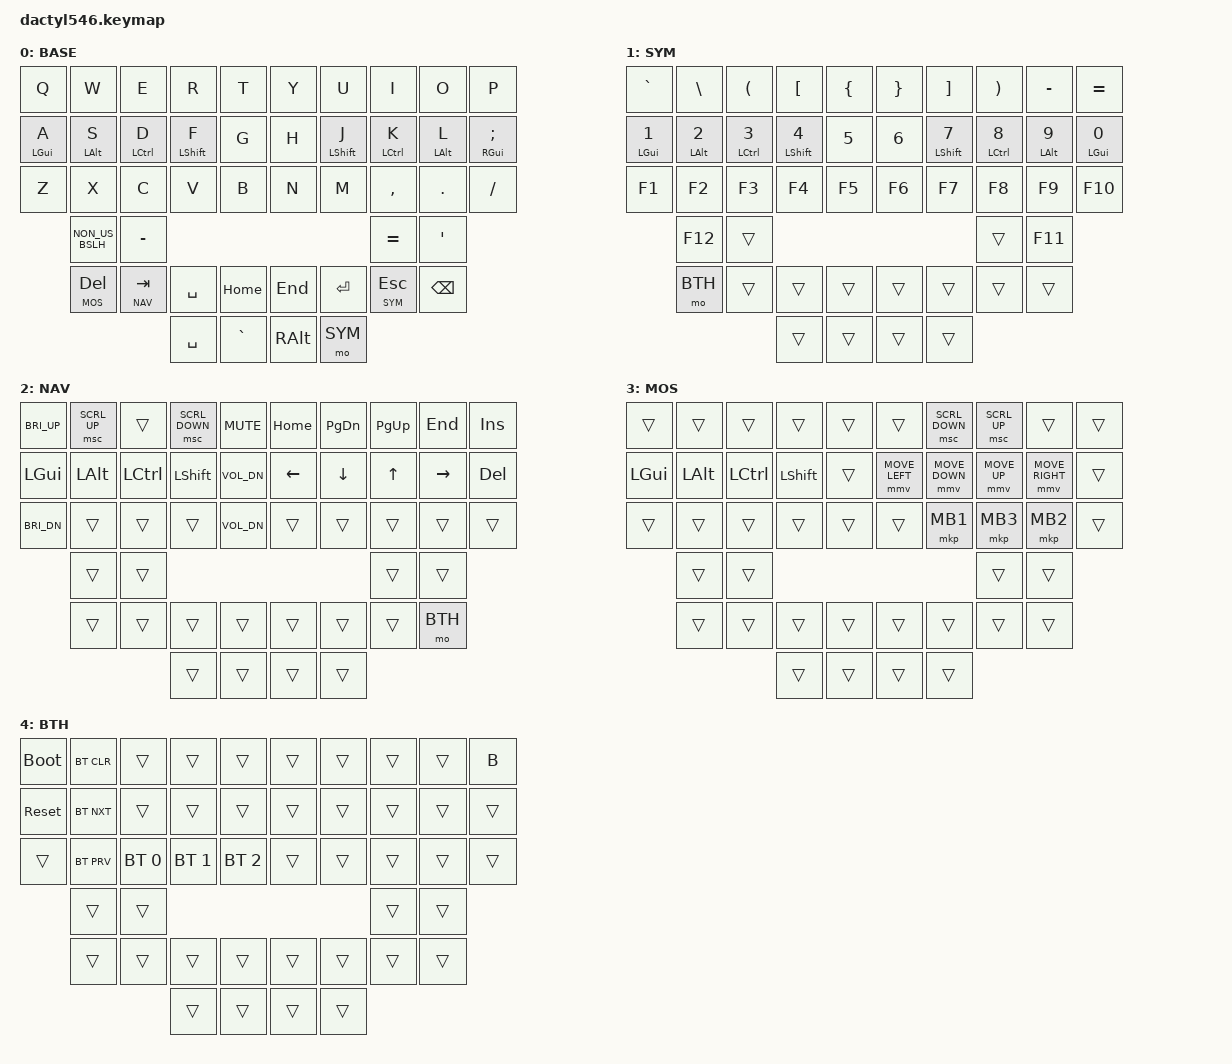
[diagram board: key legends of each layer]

#define ZMK_POINTING_DEFAULT_MOVE_VAL 1000  // default: 600
#define ZMK_POINTING_DEFAULT_SCRL_VAL 20    // default: 10

#include <behaviors.dtsi>
#include <dt-bindings/zmk/keys.h>
#include <dt-bindings/zmk/bt.h>
#include <dt-bindings/zmk/outputs.h>
#include <dt-bindings/zmk/pointing.h>

#define BASE 0
#define SYM  1
#define NAV  2
#define MOS  3
#define BTH  4


&mmv {
    time-to-max-speed-ms = <200>;
    acceleration-exponent = <2>;
};

&msc {
    time-to-max-speed-ms = <200>;
    acceleration-exponent = <2>;
};

&mt {
  quick-tap-ms = <100>;
  global-quick-tap;
  flavor = "tap-preferred";
  tapping-term-ms = <200>;
};

/ {
     combos {
            compatible = "zmk,combos";
            combo_esc {
                timeout-ms = <50>;
                key-positions = <0 1>;
                bindings = <&kp ESC>;
            };
    };

        keymap {
                compatible = "zmk,keymap";

                base_layer {
label= "BASE";
//   +--------------+--------------+--------------+--------------+--------------+  +--------------+--------------+--------------+--------------+--------------+
//   |      Q       |      W       |       E      |       R      |       T      |  |      Y       |      U       |      I       |      O       |      P       |
//   +--------------+--------------+--------------+--------------+--------------+  +--------------+--------------+--------------+--------------+--------------+
//   |      A       |      S       |       D      |       F      |       G      |  |      H       |      J       |      K       |      L       |      ;       |
//   +--------------+--------------+--------------+--------------+--------------+  +--------------+--------------+--------------+--------------+--------------+
//   |      Z       |      X       |       C      |       V      |       B      |  |      N       |      M       |      ,       |      .       |      /       |
//   +--------------+--------------+--------------+--------------+--------------+  +--------------+--------------+--------------+--------------+--------------+
//                  |      \       |       -      |                                                              |      =       |      '       |
//                  +--------------+--------------+                                                              +--------------+--------------+
//
//                  +--------------+--------------+--------------+--------------+  +--------------+--------------+--------------+--------------+
//                  |     DEL      |      TAB     |      SPC     |     HOME     |  |     END      |     RET      |     ESC      |    BSPC      |
//                  +--------------+--------------+--------------+--------------+  +--------------+--------------+--------------+--------------+
//                                                |      SPC     |      `       |  |    RALT      |     SYM      |
//                                                +--------------+--------------+  +--------------+--------------+

 bindings = <
//   |              |              |              |              |              |  |              |              |              |              |              |
      &kp Q          &kp W          &kp E          &kp R          &kp T             &kp Y          &kp U          &kp I          &kp O          &kp P
      &mt LGUI A     &mt LALT S     &mt LCTRL D    &mt LSHFT F    &kp G             &kp H          &mt LSHFT J    &mt LCTRL K    &mt LALT L     &mt RGUI SEMI
      &kp Z          &kp X          &kp C          &kp V          &kp B             &kp N          &kp M          &kp COMMA      &kp DOT        &kp FSLH
                     &kp NON_US_BSLH &kp MINUS                                                                    &kp EQUAL      &kp APOS

                     &lt MOS DEL    &lt NAV TAB    &kp SPACE      &kp HOME          &kp END        &kp RET        &lt SYM ESC    &kp BSPC
                                                   &kp SPACE      &kp GRAVE         &kp RALT       &mo SYM
                        >;
                };



                sim_layer {
label= "SYM";
//   +--------------+--------------+--------------+--------------+--------------+  +--------------+--------------+--------------+--------------+--------------+
//   |      `       |       \      |       (      |       [      |      {       |  |      }       |      ]       |       )      |      -       |      =       |
//   +--------------+--------------+--------------+--------------+--------------+  +--------------+--------------+--------------+--------------+--------------+
//   |      1       |       2      |       3      |       4      |      5       |  |      6       |      7       |       8      |      9       |      0       |
//   +--------------+--------------+--------------+--------------+--------------+  +--------------+--------------+--------------+--------------+--------------+
//   |     F1       |      F2      |      F3      |      F4      |     F5       |  |     F6       |     F7       |      F8      |     F9       |     F10      |
//   +--------------+--------------+--------------+--------------+--------------+  +--------------+--------------+--------------+--------------+--------------+
//                  |      F12     |              |                                                              |              |     F12      |
//                  +--------------+--------------+                                                              +--------------+--------------+
//
//                  +--------------+--------------+--------------+--------------+  +--------------+--------------+--------------+--------------+
//                  |              |              |              |              |  |              |              |              |              |
//                  +--------------+--------------+--------------+--------------+  +--------------+--------------+--------------+--------------+
//                                                |              |              |  |              |              |
//                                                +--------------+--------------+  +--------------+--------------+
 bindings = <
//   |              |              |              |              |              |  |              |              |              |              |              |
      &kp GRAVE      &kp BSLH       &kp LPAR       &kp LBKT       &kp LBRC          &kp RBRC       &kp RBKT       &kp RPAR       &kp MINUS      &kp EQUAL
      &mt LGUI N1    &mt LALT N2    &mt LCTRL N3   &mt LSHFT N4   &kp N5            &kp N6         &mt LSHFT N7   &mt LCTRL N8   &mt LALT N9    &mt LGUI N0
      &kp F1         &kp F2         &kp F3         &kp F4         &kp F5            &kp F6         &kp F7         &kp F8         &kp F9         &kp F10
                     &kp F12        &trans                                                                        &trans         &kp F11

                     &mo BTH        &trans         &trans         &trans           &trans         &trans         &trans         &trans
                                                   &trans         &trans           &trans         &trans
                        >;
                };


                nav_layer {
label= "NAV";
//   +--------------+--------------+--------------+--------------+--------------+  +--------------+--------------+--------------+--------------+--------------+
//   |   BR UP      |   SCRL UP    |  MOUSE UP    |   SCRL UP    |   MUTE       |  |    HOME      |   PG DN      |     PG UP    |    END       |     INS      |
//   +--------------+--------------+--------------+--------------+--------------+  +--------------+--------------+--------------+--------------+--------------+
//   |   LGUI       |   LALT       |   LCTRL      |    LSHIFT    |   VOL UP     |  |    LEFT      |    DOWN      |      UP      |   RIGHT      |     DEL      |
//   +--------------+--------------+--------------+--------------+--------------+  +--------------+--------------+--------------+--------------+--------------+
//   |   BR DN      |              |              |              |   VOL DN     |  |              |              |              |              |              |
//   +--------------+--------------+--------------+--------------+--------------+  +--------------+--------------+--------------+--------------+--------------+
//                  |              |              |                                                              |              |              |
//                  +--------------+--------------+                                                              +--------------+--------------+
//
//                  +--------------+--------------+--------------+--------------+  +--------------+--------------+--------------+--------------+
//                  |              |              |              |              |  |              |              |              |              |
//                  +--------------+--------------+--------------+--------------+  +--------------+--------------+--------------+--------------+
//                                                |              |              |  |              |              |
//                                                +--------------+--------------+  +--------------+--------------+
 bindings = <
//   |              |              |              |              |              |  |              |              |              |              |              |
      &kp C_BRI_UP   &msc SCRL_UP   &trans         &msc SCRL_DOWN &kp C_MUTE        &kp HOME       &kp PG_DN      &kp PG_UP      &kp END        &kp INS
      &kp LGUI       &kp LALT       &kp LCTRL      &kp LSHFT      &kp C_VOL_DN      &kp LEFT       &kp DOWN       &kp UP         &kp RIGHT      &kp DEL
      &kp C_BRI_DN   &trans         &trans         &trans         &kp C_VOL_DN      &trans         &trans         &trans         &trans         &trans
                     &trans         &trans                                                                        &trans         &trans

                     &trans         &trans         &trans         &trans            &trans         &trans         &trans         &mo BTH
                                                   &trans         &trans            &trans         &trans
                        >;
                };


                mos_layer {
label= "MOS";
//   +--------------+--------------+--------------+--------------+--------------+  +--------------+--------------+--------------+--------------+--------------+
//   |   BR UP      |   SCRL UP    |  MOUSE UP    |   SCRL UP    |   MUTE       |  |    HOME      |   PG DN      |     PG UP    |    END       |     INS      |
//   +--------------+--------------+--------------+--------------+--------------+  +--------------+--------------+--------------+--------------+--------------+
//   |   BR DN      |  MOUSE LEFT  |  MOUSE DN    |  MOUSE RIGHT |   VOL UP     |  |    LEFT      |    DOWN      |      UP      |   RIGHT      |     DEL      |
//   +--------------+--------------+--------------+--------------+--------------+  +--------------+--------------+--------------+--------------+--------------+
//   |   LGUI       |   LALT       |   LCTRL      |    LSHIFT    |   VOL DN     |  |              |  LSHIFT      |   RCTRL      |   RALT       |    RGUI      |
//   +--------------+--------------+--------------+--------------+--------------+  +--------------+--------------+--------------+--------------+--------------+
//                  |              |              |                                                              |    MB 2      |   MB 3       |
//                  +--------------+--------------+                                                              +--------------+--------------+
//
//                  +--------------+--------------+--------------+--------------+  +--------------+--------------+--------------+--------------+
//                  |              |              |              |              |  |              |              |     MB 1     |              |
//                  +--------------+--------------+--------------+--------------+  +--------------+--------------+--------------+--------------+
//                                                |              |              |  |              |              |
//                                                +--------------+--------------+  +--------------+--------------+
 bindings = <
//   |              |              |              |              |              |  |              |              |              |              |              |
      &trans         &trans         &trans         &trans         &trans            &trans         &msc SCRL_DOWN &msc SCRL_UP   &trans         &trans
      &kp LGUI       &kp LALT       &kp LCTRL      &kp LSHFT      &trans            &mmv MOVE_LEFT &mmv MOVE_DOWN &mmv MOVE_UP   &mmv MOVE_RIGHT &trans
      &trans         &trans         &trans         &trans         &trans            &trans         &mkp MB1       &mkp MB3       &mkp MB2       &trans
                     &trans         &trans                                                                        &trans         &trans

                     &trans         &trans         &trans         &trans            &trans         &trans         &trans       &trans
                                                   &trans         &trans            &trans         &trans
                        >;
                };


                bth_layer {
label= "BTH";
//   +--------------+--------------+--------------+--------------+--------------+  +--------------+--------------+--------------+--------------+--------------+
//   | BOOTLOAD     |  BT CLEAR    |              |              |              |  |              |              |              |              |              |
//   +--------------+--------------+--------------+--------------+--------------+  +--------------+--------------+--------------+--------------+--------------+
//   | RESET        |  BT NEXT     |              |              |              |  |              |              |              |              |              |
//   +--------------+--------------+--------------+--------------+--------------+  +--------------+--------------+--------------+--------------+--------------+
//   |              |  BT PREV     |     BT 1     |     BT 2     |     BT 3     |  |              |              |              |              |              |
//   +--------------+--------------+--------------+--------------+--------------+  +--------------+--------------+--------------+--------------+--------------+
//                  |              |              |                                                              |              |              |
//                  +--------------+--------------+                                                              +--------------+--------------+
//
//                  +--------------+--------------+--------------+--------------+  +--------------+--------------+--------------+--------------+
//                  |              |              |              |              |  |              |              |              |              |
//                  +--------------+--------------+--------------+--------------+  +--------------+--------------+--------------+--------------+
//                                                |              |              |  |              |              |
//                                                +--------------+--------------+  +--------------+--------------+
 bindings = <
//   |              |              |              |              |              |  |              |              |              |              |              |
      &bootloader    &bt BT_CLR     &trans         &trans         &trans            &trans         &trans         &trans         &trans         &kp B
      &sys_reset     &bt BT_NXT     &trans         &trans         &trans            &trans         &trans         &trans         &trans         &trans
      &trans         &bt BT_PRV     &bt BT_SEL 0   &bt BT_SEL 1   &bt BT_SEL 2      &trans         &trans         &trans         &trans         &trans
                     &trans         &trans                                                                        &trans         &trans

                     &trans         &trans         &trans         &trans            &trans         &trans         &trans         &trans
                                                   &trans         &trans            &trans         &trans
                        >;
                };

        };
};

//   +--------------+--------------+--------------+--------------+--------------+  +--------------+--------------+--------------+--------------+--------------+
//   |              |              |              |              |              |  |              |              |              |              |              |
//   +--------------+--------------+--------------+--------------+--------------+  +--------------+--------------+--------------+--------------+--------------+
//   |              |              |              |              |              |  |              |              |              |              |              |
//   +--------------+--------------+--------------+--------------+--------------+  +--------------+--------------+--------------+--------------+--------------+
//   |              |              |              |              |              |  |              |              |              |              |              |
//   +--------------+--------------+--------------+--------------+--------------+  +--------------+--------------+--------------+--------------+--------------+
//                  |              |              |                                                              |              |              |
//                  +--------------+--------------+                                                              +--------------+--------------+
//
//                  +--------------+--------------+--------------+--------------+  +--------------+--------------+--------------+--------------+
//                  |              |              |              |              |  |              |              |              |              |
//                  +--------------+--------------+--------------+--------------+  +--------------+--------------+--------------+--------------+
//                                                |              |              |  |              |              |
//                                                +--------------+--------------+  +--------------+--------------+
